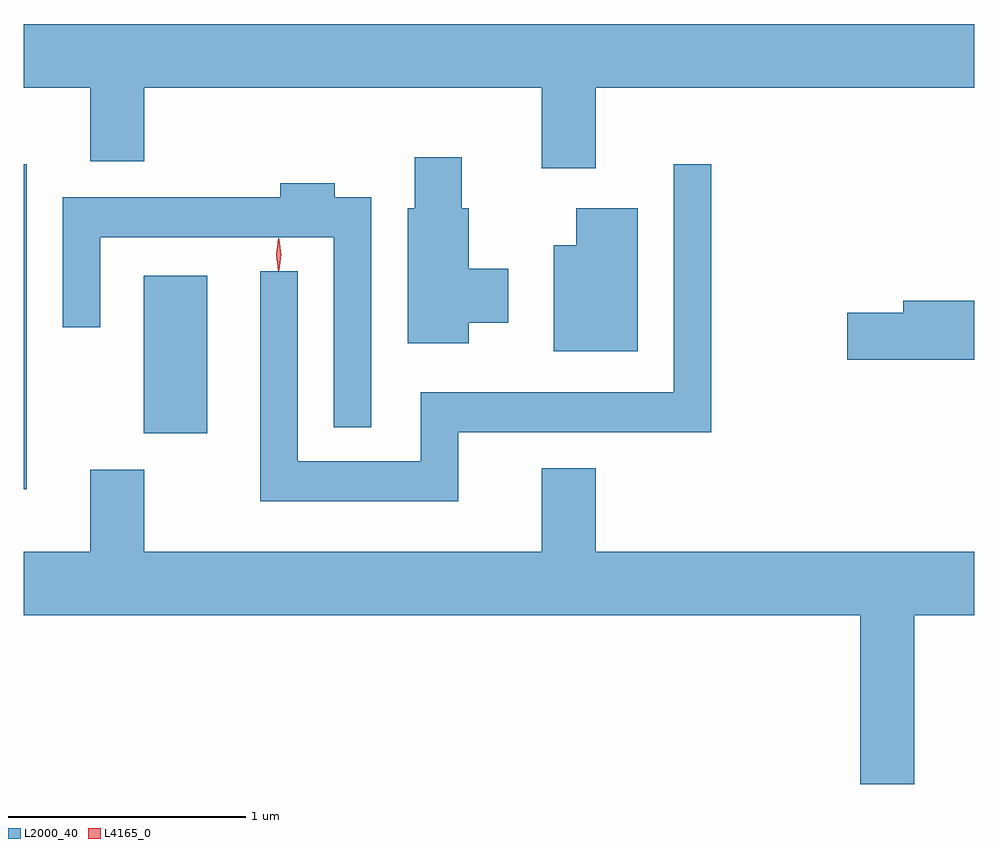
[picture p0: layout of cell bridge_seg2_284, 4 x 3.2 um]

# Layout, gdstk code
import gdstk
lib = gdstk.Library(unit=1e-6, precision=1e-09)
def R(c, l, rs):  # rectangles x0, y0, x1, y1
    for r in rs: c.add(gdstk.rectangle(r[:2], r[2:], *l))
def P(c, l, *ps):  # polygons
    for p in ps: c.add(gdstk.Polygon(p, *l))
L2000_40 = (2000, 40)
L4165_0 = (4165, 0)

bridge_seg2_284 = lib.new_cell('bridge_seg2_284')
R(bridge_seg2_284, L2000_40, [(543.691,1053.286,543.704,1054.653), (544.196,1053.521,544.464,1054.184)])
P(bridge_seg2_284, L2000_40, [(546.099,1054.976),(547.691,1054.976),(547.691,1055.244),(543.691,1055.244),(543.691,1054.976),(543.971,1054.976),(543.971,1054.666),(544.199,1054.666),(544.199,1054.976),(545.871,1054.976),(545.871,1054.636),(546.099,1054.636)],
  [(545.564,1053.986),(545.729,1053.986),(545.729,1054.214),(545.564,1054.214),(545.564,1054.469),(545.534,1054.469),(545.534,1054.684),(545.336,1054.684),(545.336,1054.469),(545.306,1054.469),(545.306,1053.901),(545.564,1053.901)],
  [(545.519,1053.526),(546.584,1053.526),(546.584,1054.653),(546.426,1054.653),(546.426,1053.694),(545.361,1053.694),(545.361,1053.404),(544.844,1053.404),(544.844,1054.203),(544.686,1054.203),(544.686,1053.236),(545.519,1053.236)],
  [(545.154,1054.514),(544.999,1054.514),(544.999,1054.574),(544.771,1054.574),(544.771,1054.514),(543.856,1054.514),(543.856,1053.968),(544.014,1053.968),(544.014,1054.346),(544.996,1054.346),(544.996,1053.548),(545.154,1053.548)],
  [(546.274,1054.469),(546.016,1054.469),(546.016,1054.314),(545.921,1054.314),(545.921,1053.866),(546.274,1053.866)],
  [(547.691,1054.079),(547.391,1054.079),(547.391,1054.029),(547.156,1054.029),(547.156,1053.831),(547.691,1053.831)],
  [(547.439,1052.756),(547.691,1052.756),(547.691,1053.024),(546.099,1053.024),(546.099,1053.374),(545.871,1053.374),(545.871,1053.024),(544.199,1053.024),(544.199,1053.369),(543.971,1053.369),(543.971,1053.024),(543.691,1053.024),(543.691,1052.756),(547.211,1052.756),(547.211,1052.046),(547.439,1052.046)])
P(bridge_seg2_284, L4165_0, [(544.765,1054.207),(544.765,1054.207),(544.755,1054.274),(544.765,1054.34),(544.765,1054.34),(544.766,1054.34),(544.775,1054.274),(544.766,1054.207)],
  [(544.763,1054.204),(544.763,1054.204),(544.753,1054.273),(544.763,1054.342),(544.763,1054.343),(544.764,1054.342),(544.773,1054.273),(544.764,1054.204)])

lib.write_gds('bridge_seg2_284.gds')
